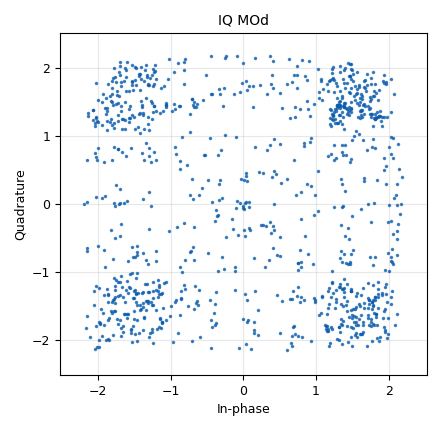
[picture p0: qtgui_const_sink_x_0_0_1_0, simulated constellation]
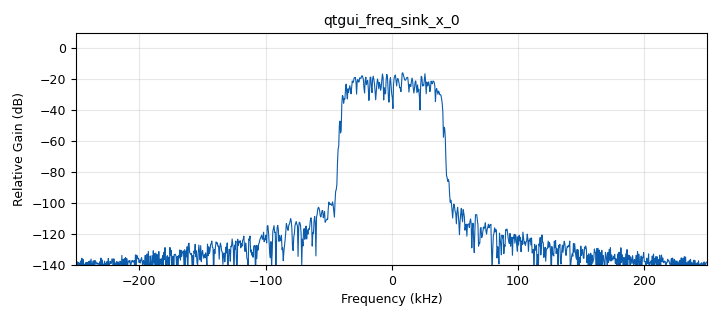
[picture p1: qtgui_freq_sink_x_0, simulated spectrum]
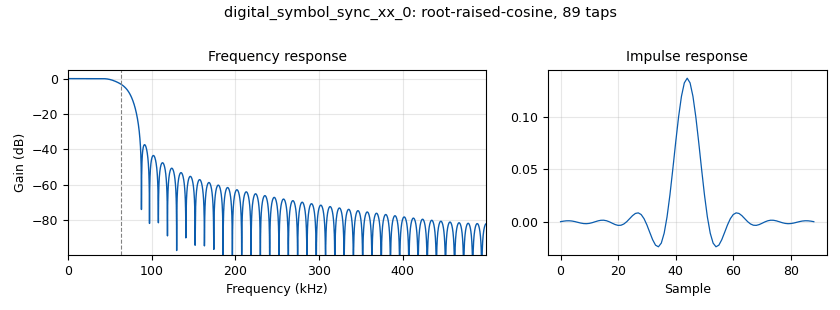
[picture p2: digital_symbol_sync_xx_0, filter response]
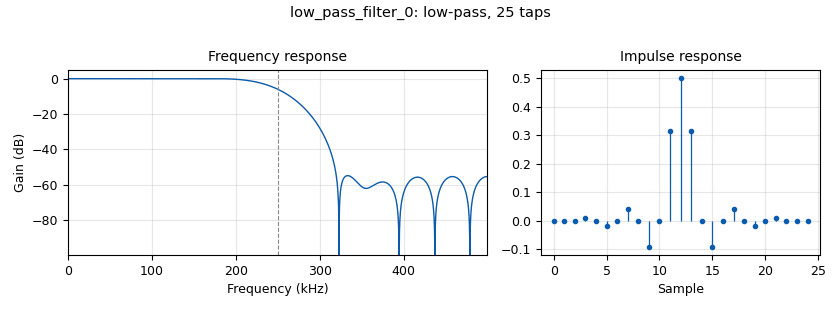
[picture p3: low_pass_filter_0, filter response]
options:
  parameters:
    generate_options: qt_gui
    id: plutoTest
    output_language: python
    title: Not titled yet
  states: {}

blocks:
- name: BW
  id: variable
  parameters:
    value: '200000'
  states: {}
- name: CMA
  id: variable_adaptive_algorithm
  parameters:
    cons: mod_obj
    modulus: '4'
    step_size: '.0001'
    type: cma
  states: {}
- name: excess_bw
  id: variable
  parameters:
    value: '.350'
  states: {}
- name: freq
  id: variable
  parameters:
    value: '880000000'
  states: {}
- name: mod_obj
  id: variable_constellation
  parameters:
    precision: '8'
    type: qpsk
  states: {}
- name: qpsk
  id: variable_constellation_rect
  parameters:
    const_points: '[0.707+0.707j, -0.707+0.707j, -0.707-0.707j, 0.707-0.707j]'
    imag_sect: '2'
    real_sect: '2'
    rot_sym: '4'
    sym_map: '[0, 1, 2, 3]'
    w_imag_sect: '1'
    w_real_sect: '1'
  states: {state: disabled}
- name: qpsk
  id: variable_constellation
  parameters:
    precision: '8'
    type: qpsk
  states: {state: disabled}
- name: rrc_taps
  id: variable
  parameters:
    value: firdes.root_raised_cosine(1.0,samp_rate,samp_rate/sps,excess_bw,11*sps)
  states: {}
- name: samp_rate
  id: variable
  parameters:
    value: '1000000'
  states: {}
- name: sps
  id: variable
  parameters:
    value: '8'
  states: {}
- name: timing_loop_bw
  id: variable_qtgui_range
  parameters:
    label: 'Time: BW'
    start: '0.0'
    step: '0.01'
    stop: '0.2'
    value: 6.28/100.0
    widget: slider
  states: {}
- name: analog_agc2_xx_0
  id: analog_agc2_xx
  parameters:
    attack_rate: '1e-1'
    decay_rate: '1e-2'
    gain: '1.0'
    max_gain: '65536'
    reference: '1.0'
    type: complex
  states: {}
- name: analog_random_source_x_0
  id: analog_random_source_x
  parameters:
    max: '255'
    min: '0'
    num_samps: '10000'
    repeat: 'True'
    type: byte
  states: {}
- name: blocks_multiply_const_vxx_0
  id: blocks_multiply_const_vxx
  parameters:
    const: '0.5'
    type: complex
  states: {}
- name: digital_constellation_modulator_0
  id: digital_constellation_modulator
  parameters:
    constellation: mod_obj
    differential: 'True'
    excess_bw: '0.35'
    samples_per_symbol: sps
  states: {}
- name: digital_costas_loop_cc_0
  id: digital_costas_loop_cc
  parameters:
    order: '4'
    w: timing_loop_bw
  states: {}
- name: digital_linear_equalizer_0
  id: digital_linear_equalizer
  parameters:
    alg: CMA
    num_taps: '15'
    sps: sps
  states: {}
- name: digital_symbol_sync_xx_0
  id: digital_symbol_sync_xx
  parameters:
    constellation: digital.constellation_qpsk().base()
    damping: '0.707'
    loop_bw: timing_loop_bw
    max_dev: '1.5'
    nfilters: '2'
    osps: sps
    pfb_mf_taps: rrc_taps
    resamp_type: digital.IR_PFB_MF
    sps: sps
    ted_gain: '2.5'
    ted_type: digital.TED_ZERO_CROSSING
    type: cc
  states: {}
- name: low_pass_filter_0
  id: low_pass_filter
  parameters:
    cutoff_freq: '250000'
    decim: '1'
    gain: '1'
    samp_rate: samp_rate
    type: fir_filter_ccf
    width: '100000'
    win: window.WIN_HAMMING
  states: {}
- name: osmosdr_sink_0
  id: osmosdr_sink
  parameters:
    bb_gain0: '20'
    bw0: samp_rate/2.0
    freq0: freq
    gain0: '40'
    if_gain0: '20'
    sample_rate: samp_rate
    sync: pc_clock
    type: fc32
  states: {state: disabled}
- name: osmosdr_source_0
  id: osmosdr_source
  parameters:
    bb_gain0: '20'
    bw0: samp_rate/2
    freq0: freq
    gain0: '40'
    gain_mode0: 'True'
    if_gain0: '20'
    sample_rate: samp_rate
    sync: sync
    type: fc32
  states: {state: disabled}
- name: qtgui_const_sink_x_0_0
  id: qtgui_const_sink_x
  parameters:
    autoscale: 'True'
    gui_hint: 1,1,1,1
    name: '"Time Sync IQ"'
    size: '1024'
    type: complex
  states: {}
- name: qtgui_const_sink_x_0_0_0
  id: qtgui_const_sink_x
  parameters:
    autoscale: 'True'
    gui_hint: 1,0,1,1
    name: '"Costas loop IQ"'
    size: '1024'
    type: complex
  states: {}
- name: qtgui_const_sink_x_0_0_1
  id: qtgui_const_sink_x
  parameters:
    autoscale: 'True'
    color1: '"red"'
    marker1: '-1'
    size: '1024'
    style1: '1'
    type: complex
  states: {state: disabled}
- name: qtgui_const_sink_x_0_0_1_0
  id: qtgui_const_sink_x
  parameters:
    autoscale: 'True'
    gui_hint: 0,1,1,1
    marker1: '-1'
    name: '"IQ MOd"'
    size: '1024'
    style1: '1'
    type: complex
  states: {}
- name: qtgui_freq_sink_x_0
  id: qtgui_freq_sink_x
  parameters:
    bw: samp_rate/2
    fc: '0'
    fftsize: '1024'
    gui_hint: 0,0,1,1
    type: complex
  states: {}
- name: rational_resampler_xxx_0
  id: rational_resampler_xxx
  parameters:
    decim: sps
    interp: '1'
    type: ccc
  states: {state: disabled}
- name: soapy_plutosdr_sink_0
  id: soapy_plutosdr_sink
  parameters:
    bandwidth: '500000'
    center_freq: freq
    gain: '45'
    samp_rate: samp_rate
    type: fc32
  states: {}
- name: soapy_plutosdr_source_0
  id: soapy_plutosdr_source
  parameters:
    bandwidth: '2000000'
    center_freq: freq
    gain: '50'
    samp_rate: samp_rate
    type: fc32
  states: {state: disabled}
- name: soapy_rtlsdr_source_0
  id: soapy_rtlsdr_source
  parameters:
    center_freq: freq
    gain: '50'
    samp_rate: samp_rate
    type: fc32
  states: {}
- name: uhd_usrp_sink_0
  id: uhd_usrp_sink
  parameters:
    ant0: '"TX/RX"'
    bw0: '1000000'
    center_freq0: freq
    gain0: '40'
    samp_rate: samp_rate
    sync: sync
    type: fc32
  states: {state: disabled}
- name: uhd_usrp_source_0
  id: uhd_usrp_source
  parameters:
    ant0: '"RX2"'
    bw0: '200000'
    center_freq0: freq
    clock_rate: 30.72e6
    clock_source0: internal
    dev_addr: '"serial=326C096"'
    gain0: '0'
    rx_agc0: Disabled
    samp_rate: samp_rate
    sync: pc_clock
    type: fc32
  states: {state: disabled}

connections:
- [analog_agc2_xx_0, '0', digital_symbol_sync_xx_0, '0']
- [analog_random_source_x_0, '0', digital_constellation_modulator_0, '0']
- [blocks_multiply_const_vxx_0, '0', soapy_plutosdr_sink_0, '0']
- [digital_constellation_modulator_0, '0', blocks_multiply_const_vxx_0, '0']
- [digital_constellation_modulator_0, '0', osmosdr_sink_0, '0']
- [digital_constellation_modulator_0, '0', qtgui_const_sink_x_0_0_1_0, '0']
- [digital_constellation_modulator_0, '0', qtgui_freq_sink_x_0, '0']
- [digital_constellation_modulator_0, '0', uhd_usrp_sink_0, '0']
- [digital_costas_loop_cc_0, '0', qtgui_const_sink_x_0_0_0, '0']
- [digital_costas_loop_cc_0, '0', rational_resampler_xxx_0, '0']
- [digital_linear_equalizer_0, '0', digital_costas_loop_cc_0, '0']
- [digital_linear_equalizer_0, '0', qtgui_const_sink_x_0_0, '0']
- [digital_symbol_sync_xx_0, '0', digital_linear_equalizer_0, '0']
- [low_pass_filter_0, '0', analog_agc2_xx_0, '0']
- [osmosdr_source_0, '0', low_pass_filter_0, '0']
- [rational_resampler_xxx_0, '0', qtgui_const_sink_x_0_0_1, '0']
- [soapy_plutosdr_source_0, '0', low_pass_filter_0, '0']
- [soapy_rtlsdr_source_0, '0', low_pass_filter_0, '0']
- [uhd_usrp_source_0, '0', low_pass_filter_0, '0']

metadata:
  file_format: 1
  grc_version: 3.10.6.0
